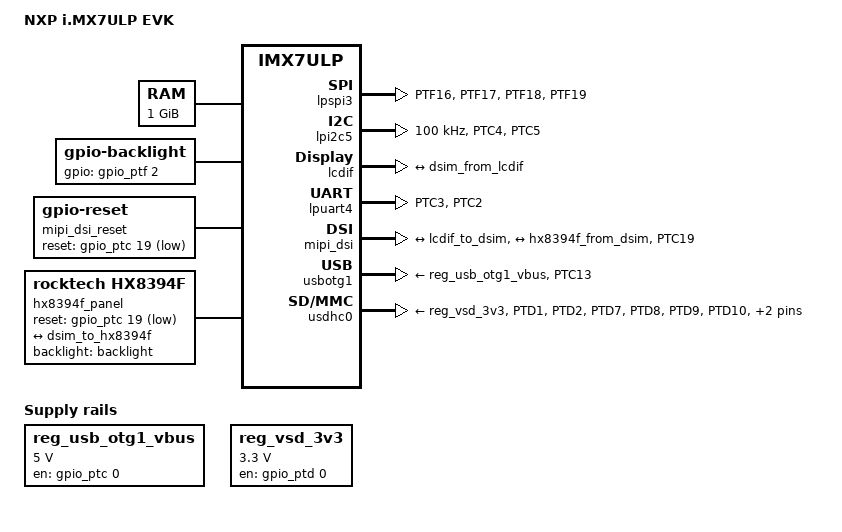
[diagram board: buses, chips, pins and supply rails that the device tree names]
// SPDX-License-Identifier: GPL-2.0+
/*
 * Copyright 2016 Freescale Semiconductor, Inc.
 * Copyright 2017-2018 NXP
 *   Dong Aisheng <aisheng.dong@nxp.com>
 */

/dts-v1/;

#include "imx7ulp.dtsi"

/ {
	model = "NXP i.MX7ULP EVK";
	compatible = "fsl,imx7ulp-evk", "fsl,imx7ulp";

	chosen {
		stdout-path = &lpuart4;
	};

	memory@60000000 {
		device_type = "memory";
		reg = <0x60000000 0x40000000>;
	};

	backlight: backlight {
		compatible = "gpio-backlight";
		pinctrl-names = "default";
		pinctrl-0 = <&pinctrl_backlight>;
		gpios = <&gpio_ptf 2 GPIO_ACTIVE_HIGH>;
		default-on;
		status = "okay";
	};

	mipi_dsi_reset: mipi-dsi-reset {
		compatible = "gpio-reset";
		reset-gpios = <&gpio_ptc 19 GPIO_ACTIVE_LOW>;
		reset-delay-us = <1000>;
		#reset-cells = <0>;
	};

	dsi_host: dsi-host {
		compatible = "northwest,mipi-dsi";
		status = "okay";
	};

	hx8394f_panel {
		compatible = "rocktech,hx8394f";
		himax,dsi-lanes = <2>;
		reset-gpios = <&gpio_ptc 19 GPIO_ACTIVE_LOW>;
		backlight = <&backlight>;
		status = "okay";

		port {
			hx8394f_from_dsim: endpoint {
				remote-endpoint = <&dsim_to_hx8394f>;
			};
		};
	};

	regulators {
		compatible = "simple-bus";
		#address-cell = <1>;
		#size-cells = <0>;

		reg_usb_otg1_vbus: regulator-usb-otg1-vbus {
			compatible = "regulator-fixed";
			pinctrl-names = "default", "sleep";
			pinctrl-0 = <&pinctrl_usbotg1_vbus>;
			pinctrl-1 = <&pinctrl_usbotg1_vbus>;
			regulator-name = "usb_otg1_vbus";
			regulator-min-microvolt = <5000000>;
			regulator-max-microvolt = <5000000>;
			gpio = <&gpio_ptc 0 GPIO_ACTIVE_HIGH>;
			enable-active-high;
		};

		reg_vsd_3v3: regulator-vsd-3v3 {
			compatible = "regulator-fixed";
			regulator-name = "VSD_3V3";
			regulator-min-microvolt = <3300000>;
			regulator-max-microvolt = <3300000>;
			pinctrl-names = "default";
			pinctrl-0 = <&pinctrl_usdhc0_rst>;
			gpio = <&gpio_ptd 0 GPIO_ACTIVE_HIGH>;
			off-on-delay-us = <20000>;
			enable-active-high;
		};
	};
};

&lpspi3 {
	fsl,spi-num-chipselects = <1>;
	pinctrl-names = "default", "sleep";
	pinctrl-0 = <&pinctrl_lpspi3>;
	pinctrl-1 = <&pinctrl_lpspi3>;
	cs-gpios = <&gpio_ptf 19 GPIO_ACTIVE_LOW>, <0>, <0>, <0>;
	spi-max-frequency = <1000000>;
	status = "okay";
};

&lpi2c5 {
	#address-cells = <1>;
	#size-cells = <0>;
	clock-frequency = <100000>;
	pinctrl-names = "default", "sleep";
	pinctrl-0 = <&pinctrl_lpi2c5>;
	pinctrl-1 = <&pinctrl_lpi2c5>;
	status = "okay";

	adv7535: adv7535@3d {
		compatible = "adi,adv7535";
		reg = <0x3d>; /* PD pin is low */
		pinctrl-names = "default";
		pinctrl-0 = <&pinctrl_dsi_hdmi>;
		interrupt-parent = <&gpio_ptc>;
		interrupts = <18 IRQ_TYPE_EDGE_FALLING>;
		video-mode = <1>; /*
				   * Only support CEA modes.
				   * Reference mxc_edid.c
				   */
		dsi-traffic-mode = <0>;
		bpp = <24>;
		status = "disabled";
	};
};

&lcdif {
	#address-cells = <1>;
	#size-cells = <0>;
	status = "okay";
	display = <&display0>;

	display0: display@0 {
		bits-per-pixel = <24>;
		bus-width = <24>;
	};

	lcdif_disp0: port@0 {
		reg = <0>;

		lcdif_to_dsim: endpoint {
			remote-endpoint = <&dsim_from_lcdif>;
		};
	};
};

&lpuart4 {
	pinctrl-names = "default";
	pinctrl-0 = <&pinctrl_lpuart4>;
	status = "okay";
};

&mipi_dsi {
	#address-cells = <1>;
	#size-cells = <0>;
	pinctrl-names = "default", "sleep";
	pinctrl-0 = <&pinctrl_mipi_dsi_reset>;
	pinctrl-1 = <&pinctrl_mipi_dsi_reset>;
	lcd_panel = "TRULY-WVGA-TFT3P5581E";
	resets = <&mipi_dsi_reset>;
	status = "okay";

	port@0 {
		dsim_from_lcdif: endpoint {
			remote-endpoint = <&lcdif_to_dsim>;
		};
	};

	port@1 {
		dsim_to_hx8394f: endpoint {
			remote-endpoint = <&hx8394f_from_dsim>;
		};
	};
};

&usbotg1 {
	vbus-supply = <&reg_usb_otg1_vbus>;
	pinctrl-names = "default";
	pinctrl-0 = <&pinctrl_usbotg1_id>;
	srp-disable;
	hnp-disable;
	adp-disable;
	disable-over-current;
	status = "okay";
};

&usbphy1 {
	fsl,tx-d-cal = <106>;
};

&usdhc0 {
	assigned-clocks = <&scg1 IMX7ULP_CLK_APLL_PFD1>, <&pcc2 IMX7ULP_CLK_USDHC0>;
	assigned-clock-parents = <0>, <&scg1 IMX7ULP_CLK_APLL_PFD1>;
	assigned-clock-rates = <0>, <352800000>;
	pinctrl-names = "default", "state_100mhz", "state_200mhz", "sleep";
	pinctrl-0 = <&pinctrl_usdhc0>;
	pinctrl-1 = <&pinctrl_usdhc0>;
	pinctrl-2 = <&pinctrl_usdhc0>;
	pinctrl-3 = <&pinctrl_usdhc0>;
	fsl,delay-line = <15>;
	cd-gpios = <&gpio_ptc 10 GPIO_ACTIVE_LOW>;
	vmmc-supply = <&reg_vsd_3v3>;
	status = "okay";
};

&iomuxc1 {
	pinctrl_lpi2c5: lpi2c5grp {
		fsl,pins = <
			IMX7ULP_PAD_PTC4__LPI2C5_SCL	0x27
			IMX7ULP_PAD_PTC5__LPI2C5_SDA	0x27
		>;
	};

	pinctrl_mipi_dsi_reset: mipi_dsi_reset_grp {
		fsl,pins = <
			IMX7ULP_PAD_PTC19__PTC19	0x20003
		>;
	};

	pinctrl_lpuart4: lpuart4grp {
		fsl,pins = <
			IMX7ULP_PAD_PTC3__LPUART4_RX	0x3
			IMX7ULP_PAD_PTC2__LPUART4_TX	0x3
		>;
		bias-pull-up;
	};

	pinctrl_backlight: backlight_grp {
		fsl,pins = <
			IMX7ULP_PAD_PTF2__PTF2      0x20000
		>;
	};

	pinctrl_lpspi3: lpspi3grp {
		fsl,pins = <
			IMX7ULP_PAD_PTF16__LPSPI3_SIN	0x0
			IMX7ULP_PAD_PTF17__LPSPI3_SOUT	0x0
			IMX7ULP_PAD_PTF18__LPSPI3_SCK	0x0
			IMX7ULP_PAD_PTF19__PTF19        0x0
		>;
	};

	pinctrl_usbotg1_vbus: otg1vbusgrp {
		fsl,pins = <
			IMX7ULP_PAD_PTC0__PTC0		0x20000
		>;
	};

	pinctrl_usbotg1_id: otg1idgrp {
		fsl,pins = <
			IMX7ULP_PAD_PTC13__USB0_ID	0x10003
		>;
	};

	pinctrl_usdhc0: usdhc0grp {
		fsl,pins = <
			IMX7ULP_PAD_PTD1__SDHC0_CMD	0x43
			IMX7ULP_PAD_PTD2__SDHC0_CLK	0x40
			IMX7ULP_PAD_PTD7__SDHC0_D3	0x43
			IMX7ULP_PAD_PTD8__SDHC0_D2	0x43
			IMX7ULP_PAD_PTD9__SDHC0_D1	0x43
			IMX7ULP_PAD_PTD10__SDHC0_D0	0x43
			IMX7ULP_PAD_PTC10__PTC10	0x3	/* CD */
		>;
	};

	pinctrl_usdhc0_8bit: usdhc0grp_8bit {
		fsl,pins = <
			IMX7ULP_PAD_PTD1__SDHC0_CMD     0x43
			IMX7ULP_PAD_PTD2__SDHC0_CLK     0x10042
			IMX7ULP_PAD_PTD3__SDHC0_D7      0x43
			IMX7ULP_PAD_PTD4__SDHC0_D6      0x43
			IMX7ULP_PAD_PTD5__SDHC0_D5      0x43
			IMX7ULP_PAD_PTD6__SDHC0_D4      0x43
			IMX7ULP_PAD_PTD7__SDHC0_D3      0x43
			IMX7ULP_PAD_PTD8__SDHC0_D2      0x43
			IMX7ULP_PAD_PTD9__SDHC0_D1      0x43
			IMX7ULP_PAD_PTD10__SDHC0_D0     0x43
			IMX7ULP_PAD_PTD11__SDHC0_DQS    0x42
		>;
	};

	pinctrl_usdhc0_rst: usdhc0-gpio-rst-grp {
		fsl,pins = <
			IMX7ULP_PAD_PTD0__PTD0		0x3
		>;
	};

	pinctrl_dsi_hdmi: dsi_hdmi_grp {
		fsl,pins = <
			IMX7ULP_PAD_PTC18__PTC18	0x10003	/* DSI_HDMI_INT */
		>;
	};
};
